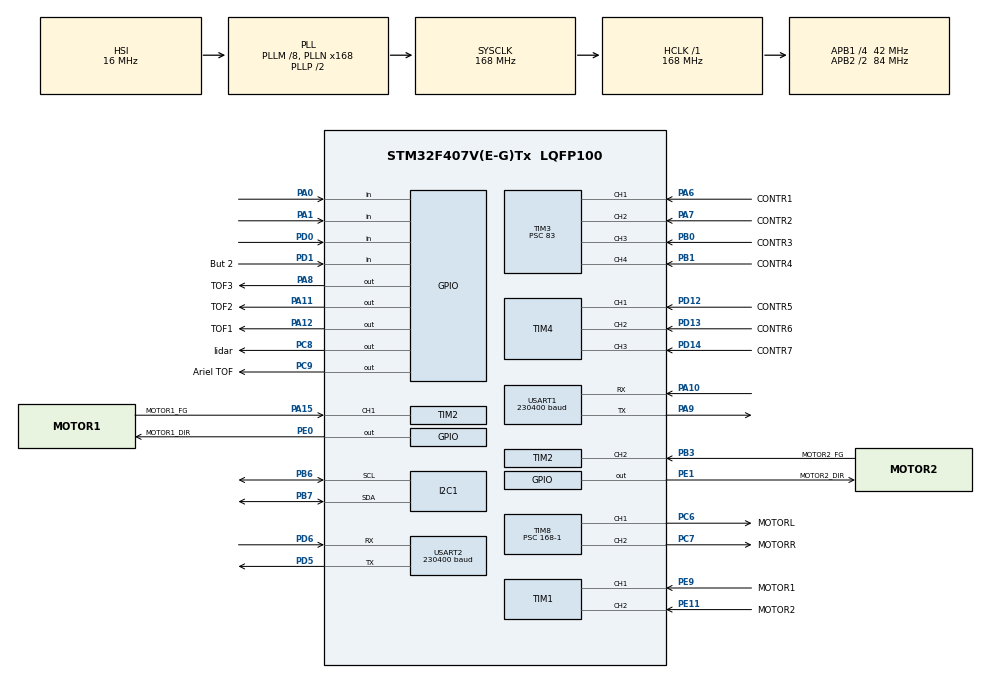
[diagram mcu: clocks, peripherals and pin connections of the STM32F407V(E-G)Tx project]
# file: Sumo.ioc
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Dma.Request0=USART2_RX
Dma.Request1=USART1_RX
Dma.USART1_RX.1.Direction=DMA_PERIPH_TO_MEMORY
Dma.USART1_RX.1.FIFOMode=DMA_FIFOMODE_DISABLE
Dma.USART1_RX.1.Instance=DMA2_Stream2
Dma.USART1_RX.1.MemDataAlignment=DMA_MDATAALIGN_BYTE
Dma.USART1_RX.1.MemInc=DMA_MINC_ENABLE
Dma.USART1_RX.1.Mode=DMA_CIRCULAR
Dma.USART1_RX.1.PeriphDataAlignment=DMA_PDATAALIGN_BYTE
Dma.USART1_RX.1.PeriphInc=DMA_PINC_DISABLE
Dma.USART1_RX.1.Priority=DMA_PRIORITY_VERY_HIGH
Dma.USART2_RX.0.Direction=DMA_PERIPH_TO_MEMORY
Dma.USART2_RX.0.FIFOMode=DMA_FIFOMODE_DISABLE
Dma.USART2_RX.0.Instance=DMA1_Stream5
Dma.USART2_RX.0.MemDataAlignment=DMA_MDATAALIGN_BYTE
Dma.USART2_RX.0.MemInc=DMA_MINC_ENABLE
Dma.USART2_RX.0.Mode=DMA_CIRCULAR
Dma.USART2_RX.0.PeriphDataAlignment=DMA_PDATAALIGN_BYTE
Dma.USART2_RX.0.PeriphInc=DMA_PINC_DISABLE
Dma.USART2_RX.0.Priority=DMA_PRIORITY_VERY_HIGH
I2C1.I2C_Mode=I2C_Fast
Mcu.Family=STM32F4
Mcu.Name=STM32F407V(E-G)Tx
Mcu.Package=LQFP100
NVIC.DMA1_Stream5_IRQn=true\:0\:0\:false\:false\:true\:false\:true\:true
NVIC.DMA2_Stream2_IRQn=true\:0\:0\:false\:false\:true\:false\:true\:true
NVIC.PriorityGroup=NVIC_PRIORITYGROUP_4
NVIC.TIM3_IRQn=true\:0\:0\:false\:false\:true\:true\:true\:true
NVIC.TIM8_BRK_TIM12_IRQn=true\:0\:0\:false\:false\:true\:true\:true\:true
NVIC.TIM8_CC_IRQn=true\:0\:0\:false\:false\:true\:true\:true\:true
NVIC.USART1_IRQn=true\:0\:0\:false\:false\:true\:true\:true\:true
NVIC.USART2_IRQn=true\:0\:0\:false\:false\:true\:true\:true\:true
PA0-WKUP.Signal=GPIO_Input
PA1.Signal=GPIO_Input
PA10.Mode=Asynchronous
PA10.Signal=USART1_RX
PA11.GPIO_Label=TOF2
PA11.Signal=GPIO_Output
PA12.GPIO_Label=TOF1
PA12.Signal=GPIO_Output
PA13.Mode=Serial_Wire
PA13.Signal=SYS_JTMS-SWDIO
PA14.Mode=Serial_Wire
PA14.Signal=SYS_JTCK-SWCLK
PA15.GPIO_Label=MOTOR1_FG
PA15.Signal=S_TIM2_CH1_ETR
PA4.Signal=ADCx_IN4
PA5.Signal=ADCx_IN5
PA6.GPIO_Label=CONTR1
PA6.Signal=S_TIM3_CH1
PA7.GPIO_Label=CONTR2
PA7.Signal=S_TIM3_CH2
PA8.GPIO_Label=TOF3
PA8.Signal=GPIO_Output
PA9.Mode=Asynchronous
PA9.Signal=USART1_TX
PB0.GPIO_Label=CONTR3
PB0.Signal=S_TIM3_CH3
PB1.GPIO_Label=CONTR4
PB1.Signal=S_TIM3_CH4
PB3.GPIO_Label=MOTOR2_FG
PB3.Signal=S_TIM2_CH2
PB6.Mode=I2C
PB6.Signal=I2C1_SCL
PB7.Mode=I2C
PB7.Signal=I2C1_SDA
PC6.GPIO_Label=MOTORL
PC6.Signal=S_TIM8_CH1
PC7.GPIO_Label=MOTORR
PC7.Signal=S_TIM8_CH2
PC8.GPIO_Label=lidar
PC8.Signal=GPIO_Output
PC9.GPIO_Label=Ariel TOF
PC9.Signal=GPIO_Output
PD0.Signal=GPIO_Input
PD1.GPIO_Label=But 2
PD1.Signal=GPIO_Input
PD12.GPIO_Label=CONTR5
PD12.Signal=S_TIM4_CH1
PD13.GPIO_Label=CONTR6
PD13.Signal=S_TIM4_CH2
PD14.GPIO_Label=CONTR7
PD14.Signal=S_TIM4_CH3
PD5.Mode=Asynchronous
PD5.Signal=USART2_TX
PD6.Mode=Asynchronous
PD6.Signal=USART2_RX
PE0.GPIO_Label=MOTOR1_DIR
PE0.Signal=GPIO_Output
PE1.GPIO_Label=MOTOR2_DIR
PE1.Signal=GPIO_Output
PE11.GPIO_Label=MOTOR2
PE11.Signal=S_TIM1_CH2
PE9.GPIO_Label=MOTOR1
PE9.Signal=S_TIM1_CH1
ProjectManager.HeapSize=0x200
ProjectManager.StackSize=0x400
ProjectManager.TargetToolchain=CMake
RCC.48MHZClocksFreq_Value=84000000
RCC.AHBFreq_Value=168000000
RCC.APB1CLKDivider=RCC_HCLK_DIV4
RCC.APB1Freq_Value=42000000
RCC.APB1TimFreq_Value=84000000
RCC.APB2CLKDivider=RCC_HCLK_DIV2
RCC.APB2Freq_Value=84000000
RCC.APB2TimFreq_Value=168000000
RCC.CortexFreq_Value=168000000
RCC.HCLKFreq_Value=168000000
RCC.HSE_VALUE=25000000
RCC.HSI_VALUE=16000000
RCC.LSE_VALUE=32768
RCC.PLLM=8
RCC.PLLN=168
RCC.SYSCLKFreq_VALUE=168000000
RCC.SYSCLKSource=RCC_SYSCLKSOURCE_PLLCLK
RCC.VCOOutputFreq_Value=336000000
SH.ADCx_IN4.0=ADC1_IN4
SH.ADCx_IN5.0=ADC1_IN5
SH.S_TIM1_CH1.0=TIM1_CH1,Encoder_Interface
SH.S_TIM1_CH2.0=TIM1_CH2,Encoder_Interface
SH.S_TIM2_CH1_ETR.0=TIM2_CH1,Input_Capture1_from_TI1
SH.S_TIM2_CH2.0=TIM2_CH2,Input_Capture2_from_TI2
SH.S_TIM3_CH1.0=TIM3_CH1,Input_Capture1_from_TI1
SH.S_TIM3_CH2.0=TIM3_CH2,Input_Capture2_from_TI2
SH.S_TIM3_CH3.0=TIM3_CH3,Input_Capture3_from_TI3
SH.S_TIM3_CH4.0=TIM3_CH4,Input_Capture4_from_TI4
SH.S_TIM4_CH1.0=TIM4_CH1,Input_Capture1_from_TI1
SH.S_TIM4_CH2.0=TIM4_CH2,Input_Capture2_from_TI2
SH.S_TIM4_CH3.0=TIM4_CH3,Input_Capture3_from_TI3
SH.S_TIM8_CH1.0=TIM8_CH1,PWM Generation1 CH1
SH.S_TIM8_CH2.0=TIM8_CH2,PWM Generation2 CH2
TIM2.Channel-Input_Capture1_from_TI1=TIM_CHANNEL_1
TIM2.Channel-Input_Capture2_from_TI2=TIM_CHANNEL_2
TIM3.Channel-Input_Capture1_from_TI1=TIM_CHANNEL_1
TIM3.Channel-Input_Capture2_from_TI2=TIM_CHANNEL_2
TIM3.Channel-Input_Capture3_from_TI3=TIM_CHANNEL_3
TIM3.Channel-Input_Capture4_from_TI4=TIM_CHANNEL_4
TIM3.Prescaler=83
TIM4.Channel-Input_Capture1_from_TI1=TIM_CHANNEL_1
TIM4.Channel-Input_Capture2_from_TI2=TIM_CHANNEL_2
TIM4.Channel-Input_Capture3_from_TI3=TIM_CHANNEL_3
TIM8.Channel-PWM\ Generation1\ CH1=TIM_CHANNEL_1
TIM8.Channel-PWM\ Generation2\ CH2=TIM_CHANNEL_2
TIM8.Period=20000-1
TIM8.Prescaler=168-1
TIM8.Pulse-PWM\ Generation1\ CH1=1500
TIM8.Pulse-PWM\ Generation2\ CH2=1500
USART1.BaudRate=230400
USART1.VirtualMode=VM_ASYNC
USART2.BaudRate=230400
USART2.VirtualMode=VM_ASYNC
VP_TIM8_VS_ClockSourceINT.Mode=Internal
board=custom

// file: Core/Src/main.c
/* USER CODE BEGIN Header */
/**
  ******************************************************************************
  * @file           : main.c
  * @brief          : Main program body
  ******************************************************************************
  * @attention
  *
  * Copyright (c) 2026 STMicroelectronics.
  * All rights reserved.
  *
  * This software is licensed under terms that can be found in the LICENSE file
  * in the root directory of this software component.
  * If no LICENSE file comes with this software, it is provided AS-IS.
  *
  ******************************************************************************
  */
/* USER CODE END Header */
#include "main.h"

/* USER CODE BEGIN Includes */
#include "controller.h"
#include "receiver.h"
#include "motor.h"
#include "sensor.h"
#include "stm32f4xx_hal.h"
#include "lidar.h"
/* USER CODE END Includes */

I2C_HandleTypeDef hi2c1;

TIM_HandleTypeDef htim1;
TIM_HandleTypeDef htim2;
TIM_HandleTypeDef htim3;
TIM_HandleTypeDef htim4;
TIM_HandleTypeDef htim8;

UART_HandleTypeDef huart1;
UART_HandleTypeDef huart2;
DMA_HandleTypeDef hdma_usart1_rx;
DMA_HandleTypeDef hdma_usart2_rx;

/* USER CODE BEGIN PV */
extern Receiver *rx_all[5];
volatile uint8_t  dbg_enemy_active = 0;
volatile float    dbg_enemy_angle = 0;
volatile uint16_t dbg_enemy_dist = 0;
/* USER CODE END PV */

void SystemClock_Config(void);
static void MX_GPIO_Init(void);
static void MX_DMA_Init(void);
static void MX_I2C1_Init(void);
static void MX_TIM1_Init(void);
static void MX_TIM2_Init(void);
static void MX_TIM3_Init(void);
static void MX_TIM4_Init(void);
static void MX_USART1_UART_Init(void);
static void MX_USART2_UART_Init(void);
static void MX_TIM8_Init(void);

int main(void)
{

  /* MCU Configuration--------------------------------------------------------*/

  /* Reset of all peripherals, Initializes the Flash interface and the Systick. */
  HAL_Init();

  /* Configure the system clock */
  SystemClock_Config();

  /* Initialize all configured peripherals */
  MX_GPIO_Init();
  MX_DMA_Init();
  MX_I2C1_Init();
  MX_TIM1_Init();
  MX_TIM2_Init();
  MX_TIM3_Init();
  MX_TIM4_Init();
  MX_USART1_UART_Init();
  MX_USART2_UART_Init();
  MX_TIM8_Init();
  /* USER CODE BEGIN 2 */
  HAL_GPIO_WritePin(GPIOC, GPIO_PIN_8, GPIO_PIN_SET);  //lidar
  Lidar_Init();
  Motor_Init();
  Sensor_Init();
  Controller_Init();
  /* USER CODE END 2 */

  /* Infinite loop */
  /* USER CODE BEGIN WHILE */
  while (1)
  {
    Lidar_Process();
    //EnemyState enemy = Lidar_GetEnemyState(180.0f, 10, 300);
    //dbg_enemy_active = enemy.enemy_detected;
    //dbg_enemy_angle  = enemy.angle_deg;
    //dbg_enemy_dist   = enemy.dist_mm;
    Controller_Update();
    HAL_Delay(20);
    //Sensor_ReadEdge();
    /* USER CODE END WHILE */

  }
}

void SystemClock_Config(void)
{
  RCC_OscInitTypeDef RCC_OscInitStruct = {0};
  RCC_ClkInitTypeDef RCC_ClkInitStruct = {0};

  /** Configure the main internal regulator output voltage
  */
  __HAL_RCC_PWR_CLK_ENABLE();
  __HAL_PWR_VOLTAGESCALING_CONFIG(PWR_REGULATOR_VOLTAGE_SCALE1);

  /** Initializes the RCC Oscillators according to the specified parameters
  * in the RCC_OscInitTypeDef structure.
  */
  RCC_OscInitStruct.OscillatorType = RCC_OSCILLATORTYPE_HSI;
  RCC_OscInitStruct.HSIState = RCC_HSI_ON;
  RCC_OscInitStruct.HSICalibrationValue = RCC_HSICALIBRATION_DEFAULT;
  RCC_OscInitStruct.PLL.PLLState = RCC_PLL_ON;
  RCC_OscInitStruct.PLL.PLLSource = RCC_PLLSOURCE_HSI;
  RCC_OscInitStruct.PLL.PLLM = 8;
  RCC_OscInitStruct.PLL.PLLN = 168;
  RCC_OscInitStruct.PLL.PLLP = RCC_PLLP_DIV2;
  RCC_OscInitStruct.PLL.PLLQ = 4;
  if (HAL_RCC_OscConfig(&RCC_OscInitStruct) != HAL_OK)
  {
    Error_Handler();
  }

  /** Initializes the CPU, AHB and APB buses clocks
  */
  RCC_ClkInitStruct.ClockType = RCC_CLOCKTYPE_HCLK|RCC_CLOCKTYPE_SYSCLK
                              |RCC_CLOCKTYPE_PCLK1|RCC_CLOCKTYPE_PCLK2;
  RCC_ClkInitStruct.SYSCLKSource = RCC_SYSCLKSOURCE_PLLCLK;
  RCC_ClkInitStruct.AHBCLKDivider = RCC_SYSCLK_DIV1;
  RCC_ClkInitStruct.APB1CLKDivider = RCC_HCLK_DIV4;
  RCC_ClkInitStruct.APB2CLKDivider = RCC_HCLK_DIV2;

  if (HAL_RCC_ClockConfig(&RCC_ClkInitStruct, FLASH_LATENCY_5) != HAL_OK)
  {
    Error_Handler();
  }
}

static void MX_I2C1_Init(void)
{

  hi2c1.Instance = I2C1;
  hi2c1.Init.ClockSpeed = 400000;
  hi2c1.Init.DutyCycle = I2C_DUTYCYCLE_2;
  hi2c1.Init.OwnAddress1 = 0;
  hi2c1.Init.AddressingMode = I2C_ADDRESSINGMODE_7BIT;
  hi2c1.Init.DualAddressMode = I2C_DUALADDRESS_DISABLE;
  hi2c1.Init.OwnAddress2 = 0;
  hi2c1.Init.GeneralCallMode = I2C_GENERALCALL_DISABLE;
  hi2c1.Init.NoStretchMode = I2C_NOSTRETCH_DISABLE;
  if (HAL_I2C_Init(&hi2c1) != HAL_OK)
  {
    Error_Handler();
  }

}

static void MX_TIM1_Init(void)
{

  TIM_Encoder_InitTypeDef sConfig = {0};
  TIM_MasterConfigTypeDef sMasterConfig = {0};

  htim1.Instance = TIM1;
  htim1.Init.Prescaler = 0;
  htim1.Init.CounterMode = TIM_COUNTERMODE_UP;
  htim1.Init.Period = 65535;
  htim1.Init.ClockDivision = TIM_CLOCKDIVISION_DIV1;
  htim1.Init.RepetitionCounter = 0;
  htim1.Init.AutoReloadPreload = TIM_AUTORELOAD_PRELOAD_DISABLE;
  sConfig.EncoderMode = TIM_ENCODERMODE_TI1;
  sConfig.IC1Polarity = TIM_ICPOLARITY_RISING;
  sConfig.IC1Selection = TIM_ICSELECTION_DIRECTTI;
  sConfig.IC1Prescaler = TIM_ICPSC_DIV1;
  sConfig.IC1Filter = 0;
  sConfig.IC2Polarity = TIM_ICPOLARITY_RISING;
  sConfig.IC2Selection = TIM_ICSELECTION_DIRECTTI;
  sConfig.IC2Prescaler = TIM_ICPSC_DIV1;
  sConfig.IC2Filter = 0;
  if (HAL_TIM_Encoder_Init(&htim1, &sConfig) != HAL_OK)
  {
    Error_Handler();
  }
  sMasterConfig.MasterOutputTrigger = TIM_TRGO_RESET;
  sMasterConfig.MasterSlaveMode = TIM_MASTERSLAVEMODE_DISABLE;
  if (HAL_TIMEx_MasterConfigSynchronization(&htim1, &sMasterConfig) != HAL_OK)
  {
    Error_Handler();
  }

}

static void MX_TIM2_Init(void)
{

  TIM_MasterConfigTypeDef sMasterConfig = {0};
  TIM_IC_InitTypeDef sConfigIC = {0};

  htim2.Instance = TIM2;
  htim2.Init.Prescaler = 0;
  htim2.Init.CounterMode = TIM_COUNTERMODE_UP;
  htim2.Init.Period = 4294967295;
  htim2.Init.ClockDivision = TIM_CLOCKDIVISION_DIV1;
  htim2.Init.AutoReloadPreload = TIM_AUTORELOAD_PRELOAD_DISABLE;
  if (HAL_TIM_IC_Init(&htim2) != HAL_OK)
  {
    Error_Handler();
  }
  sMasterConfig.MasterOutputTrigger = TIM_TRGO_RESET;
  sMasterConfig.MasterSlaveMode = TIM_MASTERSLAVEMODE_DISABLE;
  if (HAL_TIMEx_MasterConfigSynchronization(&htim2, &sMasterConfig) != HAL_OK)
  {
    Error_Handler();
  }
  sConfigIC.ICPolarity = TIM_INPUTCHANNELPOLARITY_RISING;
  sConfigIC.ICSelection = TIM_ICSELECTION_DIRECTTI;
  sConfigIC.ICPrescaler = TIM_ICPSC_DIV1;
  sConfigIC.ICFilter = 0;
  if (HAL_TIM_IC_ConfigChannel(&htim2, &sConfigIC, TIM_CHANNEL_1) != HAL_OK)
  {
    Error_Handler();
  }
  if (HAL_TIM_IC_ConfigChannel(&htim2, &sConfigIC, TIM_CHANNEL_2) != HAL_OK)
  {
    Error_Handler();
  }

}

static void MX_TIM3_Init(void)
{

  TIM_MasterConfigTypeDef sMasterConfig = {0};
  TIM_IC_InitTypeDef sConfigIC = {0};

  htim3.Instance = TIM3;
  htim3.Init.Prescaler = 83;
  htim3.Init.CounterMode = TIM_COUNTERMODE_UP;
  htim3.Init.Period = 65535;
  htim3.Init.ClockDivision = TIM_CLOCKDIVISION_DIV1;
  htim3.Init.AutoReloadPreload = TIM_AUTORELOAD_PRELOAD_DISABLE;
  if (HAL_TIM_IC_Init(&htim3) != HAL_OK)
  {
    Error_Handler();
  }
  sMasterConfig.MasterOutputTrigger = TIM_TRGO_RESET;
  sMasterConfig.MasterSlaveMode = TIM_MASTERSLAVEMODE_DISABLE;
  if (HAL_TIMEx_MasterConfigSynchronization(&htim3, &sMasterConfig) != HAL_OK)
  {
    Error_Handler();
  }
  sConfigIC.ICPolarity = TIM_INPUTCHANNELPOLARITY_RISING;
  sConfigIC.ICSelection = TIM_ICSELECTION_DIRECTTI;
  sConfigIC.ICPrescaler = TIM_ICPSC_DIV1;
  sConfigIC.ICFilter = 0;
  if (HAL_TIM_IC_ConfigChannel(&htim3, &sConfigIC, TIM_CHANNEL_1) != HAL_OK)
  {
    Error_Handler();
  }
  if (HAL_TIM_IC_ConfigChannel(&htim3, &sConfigIC, TIM_CHANNEL_2) != HAL_OK)
  {
    Error_Handler();
  }
  if (HAL_TIM_IC_ConfigChannel(&htim3, &sConfigIC, TIM_CHANNEL_3) != HAL_OK)
  {
    Error_Handler();
  }
  if (HAL_TIM_IC_ConfigChannel(&htim3, &sConfigIC, TIM_CHANNEL_4) != HAL_OK)
  {
    Error_Handler();
  }

}

static void MX_TIM4_Init(void)
{

  TIM_MasterConfigTypeDef sMasterConfig = {0};
  TIM_IC_InitTypeDef sConfigIC = {0};

  htim4.Instance = TIM4;
  htim4.Init.Prescaler = 0;
  htim4.Init.CounterMode = TIM_COUNTERMODE_UP;
  htim4.Init.Period = 65535;
  htim4.Init.ClockDivision = TIM_CLOCKDIVISION_DIV1;
  htim4.Init.AutoReloadPreload = TIM_AUTORELOAD_PRELOAD_DISABLE;
  if (HAL_TIM_IC_Init(&htim4) != HAL_OK)
  {
    Error_Handler();
  }
  sMasterConfig.MasterOutputTrigger = TIM_TRGO_RESET;
  sMasterConfig.MasterSlaveMode = TIM_MASTERSLAVEMODE_DISABLE;
  if (HAL_TIMEx_MasterConfigSynchronization(&htim4, &sMasterConfig) != HAL_OK)
  {
    Error_Handler();
  }
  sConfigIC.ICPolarity = TIM_INPUTCHANNELPOLARITY_RISING;
  sConfigIC.ICSelection = TIM_ICSELECTION_DIRECTTI;
  sConfigIC.ICPrescaler = TIM_ICPSC_DIV1;
  sConfigIC.ICFilter = 0;
  if (HAL_TIM_IC_ConfigChannel(&htim4, &sConfigIC, TIM_CHANNEL_1) != HAL_OK)
  {
    Error_Handler();
  }
  if (HAL_TIM_IC_ConfigChannel(&htim4, &sConfigIC, TIM_CHANNEL_2) != HAL_OK)
  {
    Error_Handler();
  }
  if (HAL_TIM_IC_ConfigChannel(&htim4, &sConfigIC, TIM_CHANNEL_3) != HAL_OK)
  {
    Error_Handler();
  }

}

static void MX_TIM8_Init(void)
{

  TIM_ClockConfigTypeDef sClockSourceConfig = {0};
  TIM_MasterConfigTypeDef sMasterConfig = {0};
  TIM_OC_InitTypeDef sConfigOC = {0};
  TIM_BreakDeadTimeConfigTypeDef sBreakDeadTimeConfig = {0};

  htim8.Instance = TIM8;
  htim8.Init.Prescaler = 168-1;
  htim8.Init.CounterMode = TIM_COUNTERMODE_UP;
  htim8.Init.Period = 20000-1;
  htim8.Init.ClockDivision = TIM_CLOCKDIVISION_DIV1;
  htim8.Init.RepetitionCounter = 0;
  htim8.Init.AutoReloadPreload = TIM_AUTORELOAD_PRELOAD_DISABLE;
  if (HAL_TIM_Base_Init(&htim8) != HAL_OK)
  {
    Error_Handler();
  }
  sClockSourceConfig.ClockSource = TIM_CLOCKSOURCE_INTERNAL;
  if (HAL_TIM_ConfigClockSource(&htim8, &sClockSourceConfig) != HAL_OK)
  {
    Error_Handler();
  }
  if (HAL_TIM_PWM_Init(&htim8) != HAL_OK)
  {
    Error_Handler();
  }
  sMasterConfig.MasterOutputTrigger = TIM_TRGO_RESET;
  sMasterConfig.MasterSlaveMode = TIM_MASTERSLAVEMODE_DISABLE;
  if (HAL_TIMEx_MasterConfigSynchronization(&htim8, &sMasterConfig) != HAL_OK)
  {
    Error_Handler();
  }
  sConfigOC.OCMode = TIM_OCMODE_PWM1;
  sConfigOC.Pulse = 1500;
  sConfigOC.OCPolarity = TIM_OCPOLARITY_HIGH;
  sConfigOC.OCNPolarity = TIM_OCNPOLARITY_HIGH;
  sConfigOC.OCFastMode = TIM_OCFAST_DISABLE;
  sConfigOC.OCIdleState = TIM_OCIDLESTATE_RESET;
  sConfigOC.OCNIdleState = TIM_OCNIDLESTATE_RESET;
  if (HAL_TIM_PWM_ConfigChannel(&htim8, &sConfigOC, TIM_CHANNEL_1) != HAL_OK)
  {
    Error_Handler();
  }
  if (HAL_TIM_PWM_ConfigChannel(&htim8, &sConfigOC, TIM_CHANNEL_2) != HAL_OK)
  {
    Error_Handler();
  }
  sBreakDeadTimeConfig.OffStateRunMode = TIM_OSSR_DISABLE;
  sBreakDeadTimeConfig.OffStateIDLEMode = TIM_OSSI_DISABLE;
  sBreakDeadTimeConfig.LockLevel = TIM_LOCKLEVEL_OFF;
  sBreakDeadTimeConfig.DeadTime = 0;
  sBreakDeadTimeConfig.BreakState = TIM_BREAK_DISABLE;
  sBreakDeadTimeConfig.BreakPolarity = TIM_BREAKPOLARITY_HIGH;
  sBreakDeadTimeConfig.AutomaticOutput = TIM_AUTOMATICOUTPUT_DISABLE;
  if (HAL_TIMEx_ConfigBreakDeadTime(&htim8, &sBreakDeadTimeConfig) != HAL_OK)
  {
    Error_Handler();
  }
  HAL_TIM_MspPostInit(&htim8);

}

static void MX_USART1_UART_Init(void)
{

  huart1.Instance = USART1;
  huart1.Init.BaudRate = 230400;
  huart1.Init.WordLength = UART_WORDLENGTH_8B;
  huart1.Init.StopBits = UART_STOPBITS_1;
  huart1.Init.Parity = UART_PARITY_NONE;
  huart1.Init.Mode = UART_MODE_TX_RX;
  huart1.Init.HwFlowCtl = UART_HWCONTROL_NONE;
  huart1.Init.OverSampling = UART_OVERSAMPLING_16;
  if (HAL_UART_Init(&huart1) != HAL_OK)
  {
    Error_Handler();
  }

}

static void MX_USART2_UART_Init(void)
{

  huart2.Instance = USART2;
  huart2.Init.BaudRate = 230400;
  huart2.Init.WordLength = UART_WORDLENGTH_8B;
  huart2.Init.StopBits = UART_STOPBITS_1;
  huart2.Init.Parity = UART_PARITY_NONE;
  huart2.Init.Mode = UART_MODE_TX_RX;
  huart2.Init.HwFlowCtl = UART_HWCONTROL_NONE;
  huart2.Init.OverSampling = UART_OVERSAMPLING_16;
  if (HAL_UART_Init(&huart2) != HAL_OK)
  {
    Error_Handler();
  }

}

static void MX_DMA_Init(void)
{

  /* DMA controller clock enable */
  __HAL_RCC_DMA1_CLK_ENABLE();
  __HAL_RCC_DMA2_CLK_ENABLE();

  /* DMA interrupt init */
  /* DMA1_Stream5_IRQn interrupt configuration */
  HAL_NVIC_SetPriority(DMA1_Stream5_IRQn, 0, 0);
  HAL_NVIC_EnableIRQ(DMA1_Stream5_IRQn);
  /* DMA2_Stream2_IRQn interrupt configuration */
  HAL_NVIC_SetPriority(DMA2_Stream2_IRQn, 0, 0);
  HAL_NVIC_EnableIRQ(DMA2_Stream2_IRQn);

}

static void MX_GPIO_Init(void)
{
  GPIO_InitTypeDef GPIO_InitStruct = {0};

  /* GPIO Ports Clock Enable */
  __HAL_RCC_GPIOA_CLK_ENABLE();
  __HAL_RCC_GPIOB_CLK_ENABLE();
  __HAL_RCC_GPIOE_CLK_ENABLE();
  __HAL_RCC_GPIOD_CLK_ENABLE();
  __HAL_RCC_GPIOC_CLK_ENABLE();

  /*Configure GPIO pin Output Level */
  HAL_GPIO_WritePin(GPIOC, lidar_Pin|Ariel_TOF_Pin, GPIO_PIN_RESET);

  /*Configure GPIO pin Output Level */
  HAL_GPIO_WritePin(GPIOA, TOF3_Pin|TOF2_Pin|TOF1_Pin, GPIO_PIN_RESET);

  /*Configure GPIO pin Output Level */
  HAL_GPIO_WritePin(GPIOE, MOTOR1_DIR_Pin|MOTOR2_DIR_Pin, GPIO_PIN_RESET);

  /*Configure GPIO pins : PA0 PA1 */
  GPIO_InitStruct.Pin = GPIO_PIN_0|GPIO_PIN_1;
  GPIO_InitStruct.Mode = GPIO_MODE_INPUT;
  GPIO_InitStruct.Pull = GPIO_NOPULL;
  HAL_GPIO_Init(GPIOA, &GPIO_InitStruct);

  /*Configure GPIO pins : PA4 PA5 */
  GPIO_InitStruct.Pin = GPIO_PIN_4|GPIO_PIN_5;
  GPIO_InitStruct.Mode = GPIO_MODE_ANALOG;
  GPIO_InitStruct.Pull = GPIO_NOPULL;
  HAL_GPIO_Init(GPIOA, &GPIO_InitStruct);

  /*Configure GPIO pins : lidar_Pin Ariel_TOF_Pin */
  GPIO_InitStruct.Pin = lidar_Pin|Ariel_TOF_Pin;
  GPIO_InitStruct.Mode = GPIO_MODE_OUTPUT_PP;
  GPIO_InitStruct.Pull = GPIO_NOPULL;
  GPIO_InitStruct.Speed = GPIO_SPEED_FREQ_LOW;
  HAL_GPIO_Init(GPIOC, &GPIO_InitStruct);

  /*Configure GPIO pins : TOF3_Pin TOF2_Pin TOF1_Pin */
  GPIO_InitStruct.Pin = TOF3_Pin|TOF2_Pin|TOF1_Pin;
  GPIO_InitStruct.Mode = GPIO_MODE_OUTPUT_PP;
  GPIO_InitStruct.Pull = GPIO_NOPULL;
  GPIO_InitStruct.Speed = GPIO_SPEED_FREQ_LOW;
  HAL_GPIO_Init(GPIOA, &GPIO_InitStruct);

  /*Configure GPIO pins : PD0 But_2_Pin */
  GPIO_InitStruct.Pin = GPIO_PIN_0|But_2_Pin;
  GPIO_InitStruct.Mode = GPIO_MODE_INPUT;
  GPIO_InitStruct.Pull = GPIO_NOPULL;
  HAL_GPIO_Init(GPIOD, &GPIO_InitStruct);

  /*Configure GPIO pins : MOTOR1_DIR_Pin MOTOR2_DIR_Pin */
  GPIO_InitStruct.Pin = MOTOR1_DIR_Pin|MOTOR2_DIR_Pin;
  GPIO_InitStruct.Mode = GPIO_MODE_OUTPUT_PP;
  GPIO_InitStruct.Pull = GPIO_NOPULL;
  GPIO_InitStruct.Speed = GPIO_SPEED_FREQ_LOW;
  HAL_GPIO_Init(GPIOE, &GPIO_InitStruct);

}

void Error_Handler(void)
{
  __disable_irq();
  while (1)
  {
  }
}
